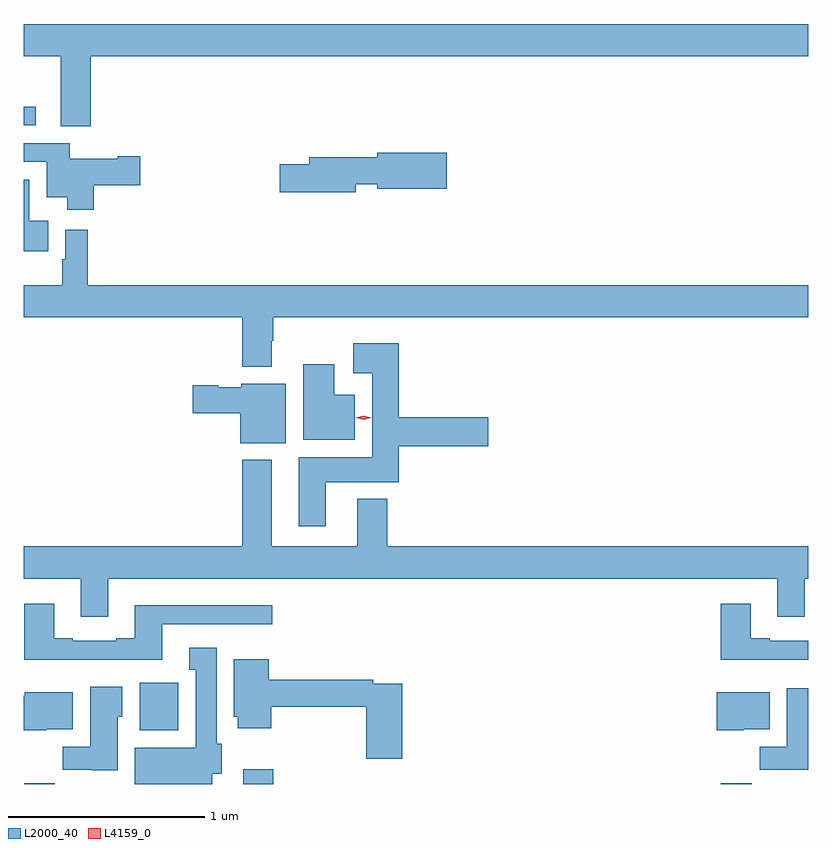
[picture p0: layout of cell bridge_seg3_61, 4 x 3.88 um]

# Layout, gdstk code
import gdstk
lib = gdstk.Library(unit=1e-6, precision=1e-09)
def R(c, l, rs):  # rectangles x0, y0, x1, y1
    for r in rs: c.add(gdstk.rectangle(r[:2], r[2:], *l))
def P(c, l, *ps):  # polygons
    for p in ps: c.add(gdstk.Polygon(p, *l))
L2000_40 = (2000, 40)
L4159_0 = (4159, 0)

bridge_seg3_61 = lib.new_cell('bridge_seg3_61')
R(bridge_seg3_61, L2000_40, [(601.595,697.205,601.751,697.208), (602.711,697.205,602.864,697.279), (605.147,697.205,605.303,697.208), (602.183,697.478,602.38,697.72), (601.592,700.563,601.654,700.659)])
P(bridge_seg3_61, L2000_40, [(601.934,700.916),(605.592,700.916),(605.592,701.08),(601.592,701.08),(601.592,700.916),(601.781,700.916),(601.781,700.558),(601.934,700.558)],
  [(601.949,700.259),(602.185,700.259),(602.185,700.406),(602.072,700.406),(602.072,700.393),(601.826,700.393),(601.826,700.473),(601.592,700.473),(601.592,700.377),(601.71,700.377),(601.71,700.196),(601.814,700.196),(601.814,700.134),(601.949,700.134)],
  [(603.286,700.264),(603.395,700.264),(603.395,700.241),(603.748,700.241),(603.748,700.424),(603.395,700.424),(603.395,700.4),(603.047,700.4),(603.047,700.364),(602.898,700.364),(602.898,700.222),(603.286,700.222)],
  [(601.718,700.078),(601.621,700.078),(601.621,700.287),(601.592,700.287),(601.592,699.921),(601.718,699.921)],
  [(602.857,699.464),(602.865,699.464),(602.865,699.584),(605.592,699.584),(605.592,699.748),(601.919,699.748),(601.919,700.03),(601.803,700.03),(601.803,699.881),(601.788,699.881),(601.788,699.748),(601.592,699.748),(601.592,699.584),(602.705,699.584),(602.705,699.332),(602.857,699.332)],
  [(603.133,698.744),(603.503,698.744),(603.503,698.927),(603.961,698.927),(603.961,699.074),(603.503,699.074),(603.503,699.451),(603.273,699.451),(603.273,699.299),(603.368,699.299),(603.368,698.872),(602.993,698.872),(602.993,698.52),(603.133,698.52)],
  [(603.28,699.19),(603.175,699.19),(603.175,699.346),(603.017,699.346),(603.017,698.96),(603.28,698.96)],
  [(602.929,699.247),(602.7,699.247),(602.7,699.229),(602.583,699.229),(602.583,699.237),(602.454,699.237),(602.454,699.095),(602.696,699.095),(602.696,698.942),(602.929,698.942)],
  [(602.023,698.252),(605.435,698.252),(605.435,698.058),(605.575,698.058),(605.575,698.252),(605.592,698.252),(605.592,698.416),(603.446,698.416),(603.446,698.659),(603.293,698.659),(603.293,698.416),(602.857,698.416),(602.857,698.857),(602.705,698.857),(602.705,698.416),(601.592,698.416),(601.592,698.252),(601.883,698.252),(601.883,698.058),(602.023,698.058)],
  [(602.299,698.019),(602.86,698.019),(602.86,698.116),(602.159,698.116),(602.159,697.948),(602.063,697.948),(602.063,697.935),(601.843,697.935),(601.843,697.948),(601.747,697.948),(601.747,698.125),(601.595,698.125),(601.595,697.838),(602.299,697.838)],
  [(605.592,697.935),(605.395,697.935),(605.395,697.948),(605.299,697.948),(605.299,698.125),(605.147,698.125),(605.147,697.838),(605.592,697.838)],
  [(602.554,697.256),(602.602,697.256),(602.602,697.41),(602.575,697.41),(602.575,697.9),(602.435,697.9),(602.435,697.787),(602.468,697.787),(602.468,697.39),(602.159,697.39),(602.159,697.205),(602.554,697.205)],
  [(603.521,697.716),(603.374,697.716),(603.374,697.736),(602.842,697.736),(602.842,697.84),(602.663,697.84),(602.663,697.548),(602.684,697.548),(602.684,697.488),(602.855,697.488),(602.855,697.6),(603.338,697.6),(603.338,697.335),(603.521,697.335)],
  [(602.071,697.548),(602.095,697.548),(602.095,697.702),(601.931,697.702),(601.931,697.396),(601.792,697.396),(601.792,697.278),(601.935,697.278),(601.935,697.274),(602.071,697.274)],
  [(605.592,697.693),(605.483,697.693),(605.483,697.396),(605.344,697.396),(605.344,697.278),(605.592,697.278)],
  [(601.71,697.484),(601.843,697.484),(601.843,697.672),(601.596,697.672),(601.596,697.654),(601.592,697.654),(601.592,697.478),(601.71,697.478)],
  [(605.262,697.484),(605.395,697.484),(605.395,697.672),(605.126,697.672),(605.126,697.478),(605.262,697.478)])
P(bridge_seg3_61, L4159_0, [(603.325,699.062),(603.285,699.072),(603.285,699.072),(603.285,699.072),(603.324,699.082),(603.364,699.072),(603.364,699.072),(603.364,699.072)])

lib.write_gds('bridge_seg3_61.gds')
